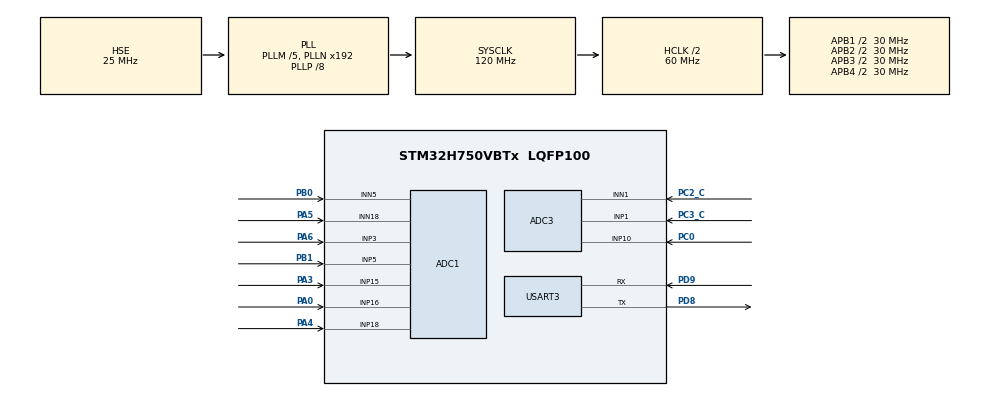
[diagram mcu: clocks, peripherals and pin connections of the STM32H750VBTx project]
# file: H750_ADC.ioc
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ADC1.Channel-0\#ChannelRegularConversion=ADC_CHANNEL_3
ADC1.Channel-1\#ChannelRegularConversion=ADC_CHANNEL_5
ADC1.Channel-2\#ChannelRegularConversion=ADC_CHANNEL_15
ADC1.Channel-3\#ChannelRegularConversion=ADC_CHANNEL_16
ADC1.Channel-4\#ChannelRegularConversion=ADC_CHANNEL_18
ADC1.ClockPrescaler=ADC_CLOCK_ASYNC_DIV1
ADC1.ContinuousConvMode=ENABLE
ADC1.ConversionDataManagement=ADC_CONVERSIONDATA_DMA_CIRCULAR
ADC1.EOCSelection=ADC_EOC_SEQ_CONV
ADC1.NbrOfConversion=5
ADC1.NbrOfConversionFlag=1
ADC1.OffsetNumber-0\#ChannelRegularConversion=ADC_OFFSET_NONE
ADC1.OffsetNumber-1\#ChannelRegularConversion=ADC_OFFSET_NONE
ADC1.OffsetNumber-2\#ChannelRegularConversion=ADC_OFFSET_NONE
ADC1.OffsetNumber-3\#ChannelRegularConversion=ADC_OFFSET_NONE
ADC1.OffsetNumber-4\#ChannelRegularConversion=ADC_OFFSET_NONE
ADC1.OffsetSignedSaturation-0\#ChannelRegularConversion=DISABLE
ADC1.OffsetSignedSaturation-1\#ChannelRegularConversion=DISABLE
ADC1.OffsetSignedSaturation-2\#ChannelRegularConversion=DISABLE
ADC1.OffsetSignedSaturation-3\#ChannelRegularConversion=DISABLE
ADC1.OffsetSignedSaturation-4\#ChannelRegularConversion=DISABLE
ADC1.Overrun=ADC_OVR_DATA_OVERWRITTEN
ADC1.Rank-0\#ChannelRegularConversion=1
ADC1.Rank-1\#ChannelRegularConversion=2
ADC1.Rank-2\#ChannelRegularConversion=3
ADC1.Rank-3\#ChannelRegularConversion=4
ADC1.Rank-4\#ChannelRegularConversion=5
ADC1.SamplingTime-0\#ChannelRegularConversion=ADC_SAMPLETIME_64CYCLES_5
ADC1.SamplingTime-1\#ChannelRegularConversion=ADC_SAMPLETIME_64CYCLES_5
ADC1.SamplingTime-2\#ChannelRegularConversion=ADC_SAMPLETIME_64CYCLES_5
ADC1.SamplingTime-3\#ChannelRegularConversion=ADC_SAMPLETIME_64CYCLES_5
ADC1.SamplingTime-4\#ChannelRegularConversion=ADC_SAMPLETIME_64CYCLES_5
ADC1.SingleDiff-1\#ChannelRegularConversion=ADC_DIFFERENTIAL_ENDED
ADC1.SingleDiff-4\#ChannelRegularConversion=ADC_DIFFERENTIAL_ENDED
ADC1.master=1
ADC3.Channel-1\#ChannelRegularConversion=ADC_CHANNEL_VREFINT
ADC3.Channel-2\#ChannelRegularConversion=ADC_CHANNEL_1
ADC3.Channel-3\#ChannelRegularConversion=ADC_CHANNEL_10
ADC3.ClockPrescaler=ADC_CLOCK_ASYNC_DIV1
ADC3.ContinuousConvMode=ENABLE
ADC3.ConversionDataManagement=ADC_CONVERSIONDATA_DMA_CIRCULAR
ADC3.EOCSelection=ADC_EOC_SEQ_CONV
ADC3.NbrOfConversion=3
ADC3.NbrOfConversionFlag=1
ADC3.OffsetNumber-1\#ChannelRegularConversion=ADC_OFFSET_NONE
ADC3.OffsetNumber-2\#ChannelRegularConversion=ADC_OFFSET_NONE
ADC3.OffsetNumber-3\#ChannelRegularConversion=ADC_OFFSET_NONE
ADC3.OffsetSignedSaturation-1\#ChannelRegularConversion=DISABLE
ADC3.OffsetSignedSaturation-2\#ChannelRegularConversion=DISABLE
ADC3.OffsetSignedSaturation-3\#ChannelRegularConversion=DISABLE
ADC3.Overrun=ADC_OVR_DATA_OVERWRITTEN
ADC3.OversamplingMode=DISABLE
ADC3.Rank-1\#ChannelRegularConversion=1
ADC3.Rank-2\#ChannelRegularConversion=2
ADC3.Rank-3\#ChannelRegularConversion=3
ADC3.SamplingTime-1\#ChannelRegularConversion=ADC_SAMPLETIME_387CYCLES_5
ADC3.SamplingTime-2\#ChannelRegularConversion=ADC_SAMPLETIME_64CYCLES_5
ADC3.SamplingTime-3\#ChannelRegularConversion=ADC_SAMPLETIME_64CYCLES_5
ADC3.SingleDiff-2\#ChannelRegularConversion=ADC_DIFFERENTIAL_ENDED
Bdma.ADC3.0.Direction=DMA_PERIPH_TO_MEMORY
Bdma.ADC3.0.EventEnable=DISABLE
Bdma.ADC3.0.Instance=BDMA_Channel0
Bdma.ADC3.0.MemDataAlignment=DMA_MDATAALIGN_WORD
Bdma.ADC3.0.MemInc=DMA_MINC_ENABLE
Bdma.ADC3.0.Mode=DMA_CIRCULAR
Bdma.ADC3.0.PeriphDataAlignment=DMA_PDATAALIGN_WORD
Bdma.ADC3.0.PeriphInc=DMA_PINC_DISABLE
Bdma.ADC3.0.Polarity=HAL_DMAMUX_REQ_GEN_RISING
Bdma.ADC3.0.Priority=DMA_PRIORITY_LOW
Bdma.ADC3.0.RequestNumber=1
Bdma.ADC3.0.SignalID=NONE
Bdma.ADC3.0.SyncEnable=DISABLE
Bdma.ADC3.0.SyncPolarity=HAL_DMAMUX_SYNC_NO_EVENT
Bdma.ADC3.0.SyncRequestNumber=1
Bdma.ADC3.0.SyncSignalID=NONE
Bdma.Request0=ADC3
Bdma.RequestsNb=1
Dma.ADC1.0.Direction=DMA_PERIPH_TO_MEMORY
Dma.ADC1.0.EventEnable=DISABLE
Dma.ADC1.0.FIFOMode=DMA_FIFOMODE_DISABLE
Dma.ADC1.0.Instance=DMA1_Stream0
Dma.ADC1.0.MemDataAlignment=DMA_MDATAALIGN_WORD
Dma.ADC1.0.MemInc=DMA_MINC_ENABLE
Dma.ADC1.0.Mode=DMA_CIRCULAR
Dma.ADC1.0.PeriphDataAlignment=DMA_PDATAALIGN_WORD
Dma.ADC1.0.PeriphInc=DMA_PINC_DISABLE
Dma.ADC1.0.Polarity=HAL_DMAMUX_REQ_GEN_RISING
Dma.ADC1.0.Priority=DMA_PRIORITY_VERY_HIGH
Dma.ADC1.0.RequestNumber=1
Dma.ADC1.0.SignalID=NONE
Dma.ADC1.0.SyncEnable=DISABLE
Dma.ADC1.0.SyncPolarity=HAL_DMAMUX_SYNC_NO_EVENT
Dma.ADC1.0.SyncRequestNumber=1
Dma.ADC1.0.SyncSignalID=NONE
Dma.Request0=ADC1
Mcu.Family=STM32H7
Mcu.Name=STM32H750VBTx
Mcu.Package=LQFP100
NVIC.BDMA_Channel0_IRQn=true\:0\:0\:false\:false\:true\:false\:true\:true
NVIC.DMA1_Stream0_IRQn=true\:0\:0\:false\:false\:true\:false\:true\:true
NVIC.PriorityGroup=NVIC_PRIORITYGROUP_4
PA0.Mode=IN16-Single-Ended
PA0.Signal=ADC1_INP16
PA13\ (JTMS/SWDIO).Mode=Serial_Wire
PA13\ (JTMS/SWDIO).Signal=DEBUG_JTMS-SWDIO
PA14\ (JTCK/SWCLK).Mode=Serial_Wire
PA14\ (JTCK/SWCLK).Signal=DEBUG_JTCK-SWCLK
PA3.Signal=ADCx_INP15
PA4.Signal=ADCx_INP18
PA5.Signal=ADCx_INN18
PA6.Signal=ADCx_INP3
PB0.Signal=ADCx_INN5
PB1.Signal=ADCx_INP5
PC0.Signal=ADCx_INP10
PC14-OSC32_IN\ (OSC32_IN).Mode=LSE-External-Oscillator
PC14-OSC32_IN\ (OSC32_IN).Signal=RCC_OSC32_IN
PC15-OSC32_OUT\ (OSC32_OUT).Mode=LSE-External-Oscillator
PC15-OSC32_OUT\ (OSC32_OUT).Signal=RCC_OSC32_OUT
PC2_C.Mode=IN1-Differential
PC2_C.Signal=ADC3_INN1
PC3_C.Mode=IN1-Differential
PC3_C.Signal=ADC3_INP1
PD8.GPIO_ModeDefaultPP=GPIO_MODE_AF_PP
PD8.GPIO_PuPd=GPIO_NOPULL
PD8.GPIO_Speed=GPIO_SPEED_FREQ_LOW
PD8.Mode=Asynchronous
PD8.Signal=USART3_TX
PD9.GPIO_ModeDefaultPP=GPIO_MODE_AF_PP
PD9.GPIO_PuPd=GPIO_NOPULL
PD9.GPIO_Speed=GPIO_SPEED_FREQ_LOW
PD9.Mode=Asynchronous
PD9.Signal=USART3_RX
PH0-OSC_IN\ (PH0).Mode=HSE-External-Oscillator
PH0-OSC_IN\ (PH0).Signal=RCC_OSC_IN
PH1-OSC_OUT\ (PH1).Mode=HSE-External-Oscillator
PH1-OSC_OUT\ (PH1).Signal=RCC_OSC_OUT
ProjectManager.HeapSize=0x200
ProjectManager.StackSize=0x400
ProjectManager.TargetToolchain=MDK-ARM V5.32
RCC.ADCFreq_Value=36000000
RCC.APB1Freq_Value=30000000
RCC.APB2Freq_Value=30000000
RCC.APB3Freq_Value=30000000
RCC.APB4Freq_Value=30000000
RCC.CortexFreq_Value=120000000
RCC.D1PPRE=RCC_APB3_DIV2
RCC.D2PPRE1=RCC_APB1_DIV2
RCC.D2PPRE2=RCC_APB2_DIV2
RCC.D3PPRE=RCC_APB4_DIV2
RCC.DIVM1=5
RCC.DIVM2=5
RCC.DIVM3=5
RCC.DIVN1=192
RCC.DIVN2=72
RCC.DIVN3=192
RCC.DIVP1=8
RCC.DIVP2=10
RCC.DIVR1=8
RCC.HCLKFreq_Value=60000000
RCC.HPRE=RCC_HCLK_DIV2
RCC.PLL2FRACN=0
RCC.PLL3FRACN=0
RCC.PLLFRACN=0
RCC.PLLSourceVirtual=RCC_PLLSOURCE_HSE
RCC.SYSCLKFreq_VALUE=120000000
RCC.SYSCLKSource=RCC_SYSCLKSOURCE_PLLCLK
RCC.USBFreq_Value=480000000
SH.ADCx_INN18.0=ADC1_INN18,IN18-Differential
SH.ADCx_INN5.0=ADC1_INN5,IN5-Differential
SH.ADCx_INP10.0=ADC3_INP10,IN10-Single-Ended
SH.ADCx_INP15.0=ADC1_INP15,IN15-Single-Ended
SH.ADCx_INP18.0=ADC1_INP18,IN18-Differential
SH.ADCx_INP3.0=ADC1_INP3,IN3-Single-Ended
SH.ADCx_INP5.0=ADC1_INP5,IN5-Differential
USART3.VirtualMode-Asynchronous=VM_ASYNC
VP_ADC3_Vref_Input.Mode=IN-Vrefint
board=custom

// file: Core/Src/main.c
/* USER CODE BEGIN Header */
/**
  ******************************************************************************
  * @file           : main.c
  * @brief          : Main program body
  ******************************************************************************
  * @attention
  *
  * Copyright (c) 2022 STMicroelectronics.
  * All rights reserved.
  *
  * This software is licensed under terms that can be found in the LICENSE file
  * in the root directory of this software component.
  * If no LICENSE file comes with this software, it is provided AS-IS.
  *
  ******************************************************************************
  */
/* USER CODE END Header */
#include "main.h"
#include "adc.h"
#include "bdma.h"
#include "dma.h"
#include "usart.h"
#include "gpio.h"

/* USER CODE BEGIN PV */
float c;
float c_temp;
/* USER CODE END PV */

void SystemClock_Config(void);
void PeriphCommonClock_Config(void);

int main(void)
{

  /* MCU Configuration--------------------------------------------------------*/

  /* Reset of all peripherals, Initializes the Flash interface and the Systick. */
  HAL_Init();

  /* Configure the system clock */
  SystemClock_Config();

/* Configure the peripherals common clocks */
  PeriphCommonClock_Config();

  /* Initialize all configured peripherals */
  MX_GPIO_Init();
  MX_USART3_UART_Init();
  MX_ADC1_Init();
  MX_DMA_Init();
  MX_BDMA_Init();
  MX_ADC3_Init();
  /* USER CODE BEGIN 2 */
		/* ADC校准 */
	HAL_ADCEx_Calibration_Start(&hadc1, ADC_CALIB_OFFSET_LINEARITY, ADC_SINGLE_ENDED);
	HAL_ADCEx_Calibration_Start(&hadc1, ADC_CALIB_OFFSET_LINEARITY, ADC_DIFFERENTIAL_ENDED);
	HAL_ADCEx_Calibration_Start(&hadc3, ADC_CALIB_OFFSET_LINEARITY, ADC_SINGLE_ENDED);
	HAL_ADCEx_Calibration_Start(&hadc3, ADC_CALIB_OFFSET_LINEARITY, ADC_DIFFERENTIAL_ENDED);
		/* 内部参考电压VREFINT校准值 */
	VREFINT_CAL = *(__IO uint16_t *)(0x1FF1E860);
	c = (float)VREFINT_CAL / 65535 * (float) 3.3;
		/* ADC DMA传输完成标志 */
	ADC1_DMA_FLAG = 0;
	ADC3_DMA_FLAG = 0;

	printf("Hello World!\n");
	printf("Enter A: start the ADC conversion\n");
	printf("Enter B: end the ADC conversion\n");
		/* 串口中断接收完成标志 */
	USART3_IT_FLAG = 0;
	HAL_UART_Receive_IT(&huart3, USART3_Buffer, 2);
  /* USER CODE END 2 */

  /* Infinite loop */
  /* USER CODE BEGIN WHILE */
  while (1)
  {
		/* 串口 */
		if(USART3_IT_FLAG == 1)
		{
			USART3_IT_FLAG = 0;
			if(USART3_Buffer[0] == 'A') //开始ADC
			{
				HAL_ADC_Start_DMA(&hadc1, ADC1_ConvData, 5);
				HAL_ADC_Start_DMA(&hadc3, ADC3_ConvData, 3);
			}
			else if(USART3_Buffer[0] == 'B') //结束ADC
			{
				HAL_ADC_Stop_DMA(&hadc1);
				HAL_ADC_Stop_DMA(&hadc3);
			}
			HAL_UART_Receive_IT(&huart3, USART3_Buffer, 2);
		}

		/* ADC3 */
		if(ADC3_DMA_FLAG == 1)
		{
			ADC3_DMA_FLAG = 0;
			c_temp = c / (float)ADC3_ConvData[0];
			ADC3_ConvValue[1] = c_temp * (float)ADC3_ConvData[1]; //ADC3_IN1   差分
			ADC3_ConvValue[2] = c_temp * (float)ADC3_ConvData[2]; //ADC3_IN10  单端

			printf("ADC3_IN1  = %.3f V\n", ADC3_ConvValue[1]);
			printf("ADC3_IN10 = %.3f V\n", ADC3_ConvValue[2]);
		}

		/* ADC1 */
		if(ADC1_DMA_FLAG == 1)
		{
			ADC1_DMA_FLAG = 0;
			ADC1_ConvValue[0] = c_temp * (float)ADC1_ConvData[0]; //ADC1_IN3  单端
			ADC1_ConvValue[1] = c_temp * (float)ADC1_ConvData[1]; //ADC1_IN5  差分
			ADC1_ConvValue[2] = c_temp * (float)ADC1_ConvData[2]; //ADC1_IN15 单端
			ADC1_ConvValue[3] = c_temp * (float)ADC1_ConvData[3]; //ADC1_IN16 单端
			ADC1_ConvValue[4] = c_temp * (float)ADC1_ConvData[4]; //ADC1_IN18 差分

			printf("ADC1_IN3  = %.3f V\n", ADC1_ConvValue[0]);
			printf("ADC1_IN5  = %.3f V\n", ADC1_ConvValue[1]);
			printf("ADC1_IN15 = %.3f V\n", ADC1_ConvValue[2]);
			printf("ADC1_IN16 = %.3f V\n", ADC1_ConvValue[3]);
			printf("ADC1_IN18 = %.3f V\n", ADC1_ConvValue[4]);
		}
    /* USER CODE END WHILE */

  }
}

void SystemClock_Config(void)
{
  RCC_OscInitTypeDef RCC_OscInitStruct = {0};
  RCC_ClkInitTypeDef RCC_ClkInitStruct = {0};

  /** Supply configuration update enable
  */
  HAL_PWREx_ConfigSupply(PWR_LDO_SUPPLY);

  /** Configure the main internal regulator output voltage
  */
  __HAL_PWR_VOLTAGESCALING_CONFIG(PWR_REGULATOR_VOLTAGE_SCALE3);

  while(!__HAL_PWR_GET_FLAG(PWR_FLAG_VOSRDY)) {}

  /** Macro to configure the PLL clock source
  */
  __HAL_RCC_PLL_PLLSOURCE_CONFIG(RCC_PLLSOURCE_HSE);

  /** Initializes the RCC Oscillators according to the specified parameters
  * in the RCC_OscInitTypeDef structure.
  */
  RCC_OscInitStruct.OscillatorType = RCC_OSCILLATORTYPE_HSE;
  RCC_OscInitStruct.HSEState = RCC_HSE_ON;
  RCC_OscInitStruct.PLL.PLLState = RCC_PLL_ON;
  RCC_OscInitStruct.PLL.PLLSource = RCC_PLLSOURCE_HSE;
  RCC_OscInitStruct.PLL.PLLM = 5;
  RCC_OscInitStruct.PLL.PLLN = 192;
  RCC_OscInitStruct.PLL.PLLP = 8;
  RCC_OscInitStruct.PLL.PLLQ = 2;
  RCC_OscInitStruct.PLL.PLLR = 8;
  RCC_OscInitStruct.PLL.PLLRGE = RCC_PLL1VCIRANGE_2;
  RCC_OscInitStruct.PLL.PLLVCOSEL = RCC_PLL1VCOWIDE;
  RCC_OscInitStruct.PLL.PLLFRACN = 0;
  if (HAL_RCC_OscConfig(&RCC_OscInitStruct) != HAL_OK)
  {
    Error_Handler();
  }

  /** Initializes the CPU, AHB and APB buses clocks
  */
  RCC_ClkInitStruct.ClockType = RCC_CLOCKTYPE_HCLK|RCC_CLOCKTYPE_SYSCLK
                              |RCC_CLOCKTYPE_PCLK1|RCC_CLOCKTYPE_PCLK2
                              |RCC_CLOCKTYPE_D3PCLK1|RCC_CLOCKTYPE_D1PCLK1;
  RCC_ClkInitStruct.SYSCLKSource = RCC_SYSCLKSOURCE_PLLCLK;
  RCC_ClkInitStruct.SYSCLKDivider = RCC_SYSCLK_DIV1;
  RCC_ClkInitStruct.AHBCLKDivider = RCC_HCLK_DIV2;
  RCC_ClkInitStruct.APB3CLKDivider = RCC_APB3_DIV2;
  RCC_ClkInitStruct.APB1CLKDivider = RCC_APB1_DIV2;
  RCC_ClkInitStruct.APB2CLKDivider = RCC_APB2_DIV2;
  RCC_ClkInitStruct.APB4CLKDivider = RCC_APB4_DIV2;

  if (HAL_RCC_ClockConfig(&RCC_ClkInitStruct, FLASH_LATENCY_1) != HAL_OK)
  {
    Error_Handler();
  }
}

void PeriphCommonClock_Config(void)
{
  RCC_PeriphCLKInitTypeDef PeriphClkInitStruct = {0};

  /** Initializes the peripherals clock
  */
  PeriphClkInitStruct.PeriphClockSelection = RCC_PERIPHCLK_ADC;
  PeriphClkInitStruct.PLL2.PLL2M = 5;
  PeriphClkInitStruct.PLL2.PLL2N = 72;
  PeriphClkInitStruct.PLL2.PLL2P = 10;
  PeriphClkInitStruct.PLL2.PLL2Q = 2;
  PeriphClkInitStruct.PLL2.PLL2R = 2;
  PeriphClkInitStruct.PLL2.PLL2RGE = RCC_PLL2VCIRANGE_2;
  PeriphClkInitStruct.PLL2.PLL2VCOSEL = RCC_PLL2VCOWIDE;
  PeriphClkInitStruct.PLL2.PLL2FRACN = 0;
  PeriphClkInitStruct.AdcClockSelection = RCC_ADCCLKSOURCE_PLL2;
  if (HAL_RCCEx_PeriphCLKConfig(&PeriphClkInitStruct) != HAL_OK)
  {
    Error_Handler();
  }
}

void Error_Handler(void)
{
  __disable_irq();
  while (1)
  {
  }
}
